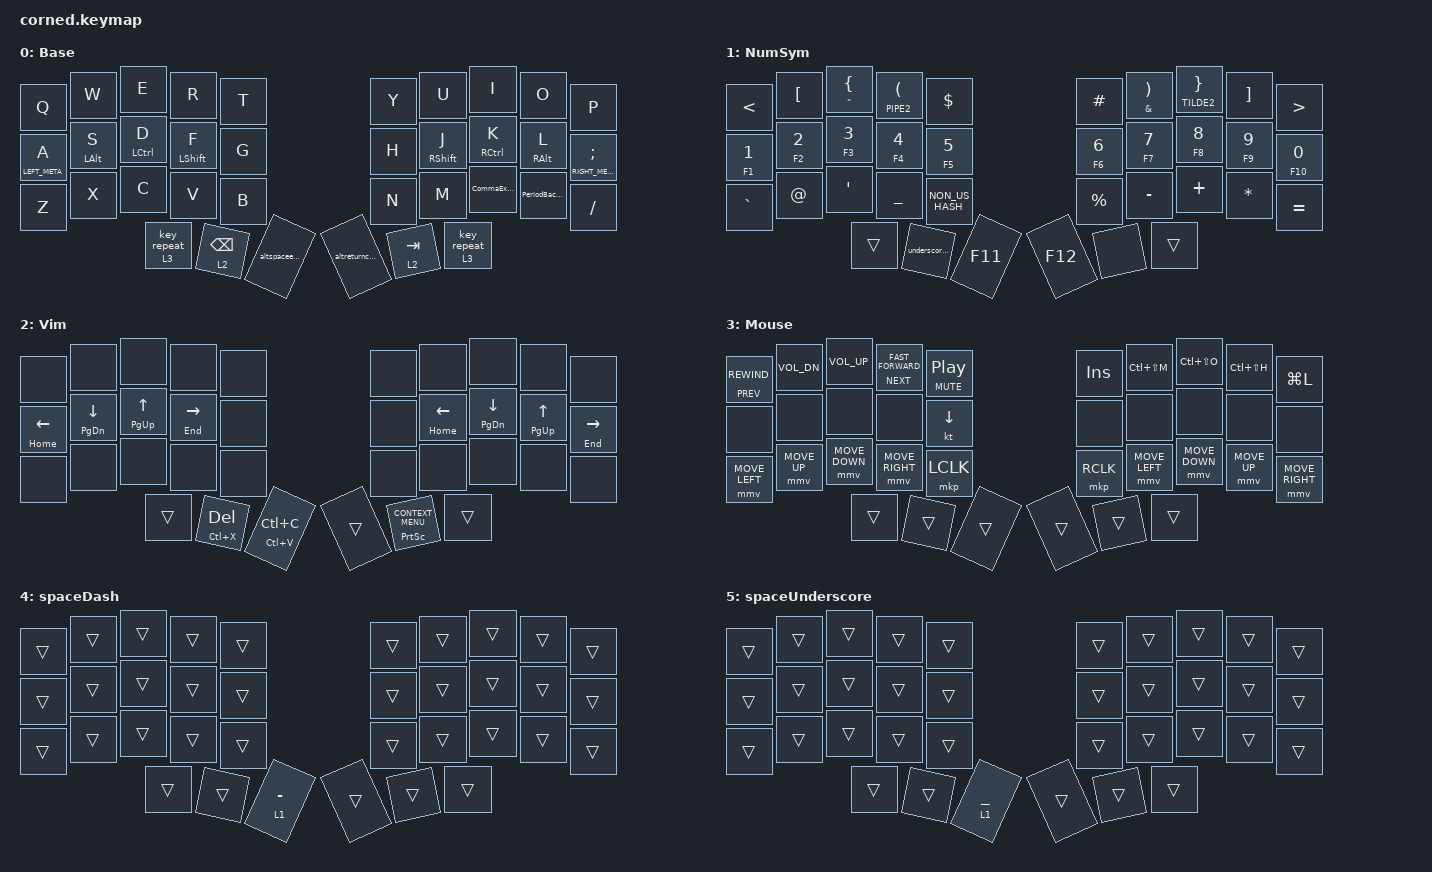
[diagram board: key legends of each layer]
#include <behaviors.dtsi>
#include <dt-bindings/zmk/keys.h>
#include <dt-bindings/zmk/pointing.h>

&mt { flavor = "tap-preferred"; };

/ {
    behaviors {
        shifted: macro_shifted_kp {
            #binding-cells = <1>;
            label = "MACRO_SHIFTED_KP";
            compatible = "zmk,behavior-macro-one-param";
            bindings =
                <&macro_press>,
                <&kp LSHFT &macro_param_1to1>,
                <&macro_tap>,
                <&kp MACRO_PLACEHOLDER>,
                <&macro_release>,
                <&kp LSHFT>;
        };

        as_ht: autoshift_hold_tap {
            compatible = "zmk,behavior-hold-tap";
            label = "AUTOSHIFT_HOLD_TAP";
            #binding-cells = <2>;
            tapping-term-ms = <135>;
            flavor = "tap-preferred";
            bindings = <&shifted>, <&kp>;
        };

        as: autoshift {
            compatible = "zmk,behavior-macro-one-param";
            #binding-cells = <1>;
            label = "AUTOSHIFT_KP";
            bindings =
                <&macro_press>,
                <&macro_param_1to1 &macro_param_1to2 &as_ht MACRO_PLACEHOLDER MACRO_PLACEHOLDER>,
                <&macro_pause_for_release>,
                <&macro_release>,
                <&macro_param_1to1 &macro_param_1to2 &as_ht MACRO_PLACEHOLDER MACRO_PLACEHOLDER>;
        };

        hm: homerow_mods {
            compatible = "zmk,behavior-hold-tap";
            label = "HOMEROW_MODS";
            bindings = <&kp>, <&kp>;

            #binding-cells = <2>;
            tapping-term-ms = <200>;
            quick-tap-ms = <200>;
            require-prior-idle-ms = <125>;
            flavor = "tap-preferred";
        };

        shifthr: shifthr {
            compatible = "zmk,behavior-hold-tap";
            label = "SHIFTHR";
            bindings = <&kp>, <&kp>;

            #binding-cells = <2>;
            tapping-term-ms = <185>;
            quick-tap-ms = <185>;
            flavor = "tap-preferred";
        };

        weak: weak {
            compatible = "zmk,behavior-hold-tap";
            label = "WEAK";
            bindings = <&kp>, <&kp>;

            #binding-cells = <2>;
            quick-tap-ms = <230>;
            tapping-term-ms = <230>;
            require-prior-idle-ms = <125>;
            flavor = "tap-preferred";
        };

        backspace: backspace {
            compatible = "zmk,behavior-tap-dance";
            label = "BACKSPACE";
            #binding-cells = <0>;
            bindings = <&kp BACKSPACE>, <&kp LC(BACKSPACE)>;
        };

        altspaceescape: altspaceescape {
            compatible = "zmk,behavior-mod-morph";
            label = "ALTSPACEESCAPE";
            bindings = <&lt 1 SPACE>, <&kp ESCAPE>;

            #binding-cells = <0>;
            mods = <(MOD_LALT)>;
        };

        altreturncaps: altreturncaps {
            compatible = "zmk,behavior-mod-morph";
            label = "ALTRETURNCAPS";
            bindings = <&lt 1 RETURN>, <&caps_word>;

            #binding-cells = <0>;
            mods = <(MOD_RALT)>;
        };

        frontSlashBackSlash: frontSlashBackSlash {
            compatible = "zmk,behavior-mod-morph";
            label = "FRONTSLASHBACKSLASH";
            bindings = <&kp SLASH>, <&kp NON_US_BACKSLASH>;

            #binding-cells = <0>;
            mods = <(MOD_LSFT|MOD_RSFT)>;
        };

        CommaExclaimation: CommaExclaimation {
            compatible = "zmk,behavior-mod-morph";
            label = "COMMAEXCLAIMATION";
            bindings = <&kp COMMA>, <&kp EXCLAMATION>;

            #binding-cells = <0>;
            mods = <(MOD_LSFT|MOD_RSFT)>;
        };

        PeriodBackslash: PeriodBackslash {
            compatible = "zmk,behavior-mod-morph";
            label = "PERIODBACKSLASH";
            bindings = <&kp PERIOD>, <&kp NON_US_BACKSLASH>;

            #binding-cells = <0>;
            mods = <(MOD_LSFT|MOD_RSFT)>;
        };

        dbth: dbth {
            compatible = "zmk,behavior-hold-tap";
            label = "DBTH";
            bindings = <&kp>, <&kp>;

            #binding-cells = <2>;
            quick-tap-ms = <185>;
            tapping-term-ms = <185>;
            flavor = "tap-preferred";
        };

        doubleTapLayer: doubleTapLayer {
            compatible = "zmk,behavior-hold-tap";
            label = "DOUBLETAPLAYER";
            bindings = <&mo>, <&kp>;

            #binding-cells = <2>;
            tapping-term-ms = <185>;
            quick-tap-ms = <185>;
            flavor = "tap-preferred";
        };

        keyRepeatLayer: keyRepeatLayer {
            compatible = "zmk,behavior-hold-tap";
            label = "KEYREPEATLAYER";
            bindings = <&mo>, <&key_repeat>;

            #binding-cells = <2>;
            tapping-term-ms = <200>;
        };

        underscoreHyphenLayers: underscoreHyphenLayers {
            compatible = "zmk,behavior-tap-dance";
            label = "UNDERSCOREHYPHENLAYERS";
            #binding-cells = <0>;
            bindings = <&tog 4>, <&tog 5>;
        };
    };

    macros {
    };

    keymap {
        compatible = "zmk,keymap";

        base {
            display-name = "Base";
            bindings = <
&kp Q              &kp W             &kp E                    &kp R                        &kp T            &kp Y           &kp U                   &kp I                     &kp O              &kp P
&weak LEFT_META A  &weak LEFT_ALT S  &shifthr LEFT_CONTROL D  &shifthr LEFT_SHIFT F        &kp G            &kp H           &shifthr RIGHT_SHIFT J  &shifthr RIGHT_CONTROL K  &weak RIGHT_ALT L  &weak RIGHT_META SEMI
&kp Z              &kp X             &kp C                    &kp V                        &kp B            &kp N           &kp M                   &CommaExclaimation        &PeriodBackslash   &kp SLASH
                                     &keyRepeatLayer 3 0      &doubleTapLayer 2 BACKSPACE  &altspaceescape  &altreturncaps  &lt 2 TAB               &keyRepeatLayer 3 0
            >;
        };

        NumSym {
            bindings = <
&kp LESS_THAN    &kp LEFT_BRACKET  &mt DOUBLE_QUOTES LEFT_BRACE  &mt PIPE2 LEFT_PARENTHESIS  &kp DOLLAR       &kp POUND        &mt AMPERSAND RIGHT_PARENTHESIS  &mt TILDE2 RIGHT_BRACE  &kp RIGHT_BRACKET  &kp GREATER_THAN
&mt F1 NUMBER_1  &mt F2 NUMBER_2   &mt F3 NUMBER_3               &mt F4 NUMBER_4             &mt F5 NUMBER_5  &mt F6 NUMBER_6  &mt F7 NUMBER_7                  &mt F8 NUMBER_8         &mt F9 NUMBER_9    &mt F10 NUMBER_0
&kp GRAVE        &kp AT_SIGN       &kp APOSTROPHE                &kp UNDERSCORE              &kp NON_US_HASH  &kp PERCENT      &kp MINUS                        &kp PLUS                &kp ASTERISK       &kp EQUAL
                                   &trans                        &underscoreHyphenLayers     &kp F11          &kp F12          &none                            &trans
            >;
        };

        Vim {
            bindings = <
&none                  &none                   &none                 &none                  &none            &none   &none                           &none                   &none                 &none
&dbth HOME LEFT_ARROW  &dbth PG_DN DOWN_ARROW  &dbth PG_UP UP_ARROW  &dbth END RIGHT_ARROW  &none            &none   &dbth HOME LEFT_ARROW           &dbth PG_DN DOWN_ARROW  &dbth PG_UP UP_ARROW  &dbth END RIGHT_ARROW
&none                  &none                   &none                 &none                  &none            &none   &none                           &none                   &none                 &none
                                               &trans                &mt LC(X) DELETE       &mt LC(V) LC(C)  &trans  &mt PRINTSCREEN K_CONTEXT_MENU  &trans
            >;
        };

        Mouse {
            bindings = <
&mt C_PREV C_REWIND  &kp C_VOL_DN  &kp C_VOL_UP    &mt C_NEXT C_FAST_FORWARD  &mt C_MUTE C_PLAY_PAUSE  &kp INS    &kp LC(LS(M))   &kp LC(LS(O))   &kp LC(LS(H))  &kp LG(L)
&none                &none         &none           &none                      &kt DOWN                 &none      &none           &none           &none          &none
&mmv MOVE_LEFT       &mmv MOVE_UP  &mmv MOVE_DOWN  &mmv MOVE_RIGHT            &mkp LCLK                &mkp RCLK  &mmv MOVE_LEFT  &mmv MOVE_DOWN  &mmv MOVE_UP   &mmv MOVE_RIGHT
                                   &trans          &trans                     &trans                   &trans     &trans          &trans
            >;
        };

        spaceDash {
            bindings = <
&trans  &trans  &trans  &trans  &trans       &trans  &trans  &trans  &trans  &trans
&trans  &trans  &trans  &trans  &trans       &trans  &trans  &trans  &trans  &trans
&trans  &trans  &trans  &trans  &trans       &trans  &trans  &trans  &trans  &trans
                &trans  &trans  &lt 1 MINUS  &trans  &trans  &trans
            >;
        };

        spaceUnderscore {
            bindings = <
&trans  &trans  &trans  &trans  &trans            &trans  &trans  &trans  &trans  &trans
&trans  &trans  &trans  &trans  &trans            &trans  &trans  &trans  &trans  &trans
&trans  &trans  &trans  &trans  &trans            &trans  &trans  &trans  &trans  &trans
                &trans  &trans  &lt 1 UNDERSCORE  &trans  &trans  &trans
            >;
        };
    };
};
